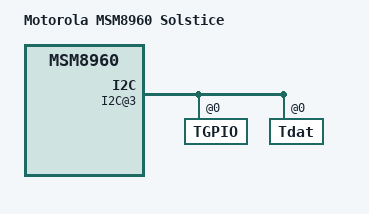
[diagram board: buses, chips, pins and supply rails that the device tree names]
/* Copyright (c) 2013 Motorola Mobility LLC. All rights reserved.
 *
 * This program is free software; you can redistribute it and/or modify
 * it under the terms of the GNU General Public License version 2 and
 * only version 2 as published by the Free Software Foundation.
 *
 * This program is distributed in the hope that it will be useful,
 * but WITHOUT ANY WARRANTY; without even the implied warranty of
 * MERCHANTABILITY or FITNESS FOR A PARTICULAR PURPOSE.  See the
 * GNU General Public License for more details.
 */

/dts-v1/;

/include/ "skeleton.dtsi"

/include/ "msm8960.dtsi"

/include/ "msm8960-motref.dtsi"

/include/ "msm8960-motref-pinmux.dtsi"

/ {
	model = "Motorola MSM8960 Solstice";
	compatible = "mmi,msm8960-old";

	mmi,product = "mmi,msm8960-solstice";

	mmi,dt_revision = <2>;

	Aliases@0 {
	};

	Machine@0 {
	};

};

/ {

	Aliases@0 {
	};

	Chosen@0 {
		batt_eprom_gpio = <0x5d>;
		emu_id_activehigh = <0x01>;
		emu_id_flt_activehigh = <0x01>;
		emu_id_flt_gpio = <0xaa>;
		emu_id_mpp_gpio = <0xcd>;
		formfactor = <0x00000003>;
		factory_kill_disable = <0x00>;
		factory_kill_gpio = <0x0000004b>;
		headset_bias = <0x00000a8c>;
		last_compat_version = <0x01330684>;
		panel_name = [6d6970695f6d6f745f636d645f736d645f7168645f34323900];
		product = <0x000022ff>;
		setup_gsbi12_clock = <0x00>;
		version = <0x0133068b>;
	};

	Machine@0 {
	};

	System@0 {

		ClockTree@0 {
			class = [436c6f636b5472656500];
			type = <0x001e0014>;

			Clock@0 { /* gsbi5_uart_clk */
				class = [5175616c636f6d6d436c6f636b54726565436c6f636b00];
				clock = <0x000c>;
				clockname = [636f72655f636c6b00];
				deviceid = [6d736d5f73657269616c5f68736c2e3500];
				type = <0x001e0015>;
			};

			Clock@1 { /* gsbi5_p_clk */
				class = [5175616c636f6d6d436c6f636b54726565436c6f636b00];
				clock = <0x000e>;
				clockname = [69666163655f636c6b00];
				deviceid = [6d736d5f73657269616c5f68736c2e3500];
				type = <0x001e0015>;
			};

			Clock@2 { /* cam0_clk */
				class = [5175616c636f6d6d436c6f636b54726565436c6f636b00];
				clock = <0x0025>;
				clockname = [63616d5f636c6b00];
				deviceid = [342d3030333600]; /* 4-0036 */
				type = <0x001e0015>;
			};

			Clock@3 { /* cam1_clk */
				class = [5175616c636f6d6d436c6f636b54726565436c6f636b00];
				clock = <0x0024>;
				clockname = [63616d5f636c6b00];
				deviceid = [342d3030336300]; /* 4-003c */
				type = <0x001e0015>;
			};

			Clock@4 {
				/* gsbi4_uart_clk, msm_serial_hs.1 */
				class = [5175616c636f6d6d436c6f636b54726565436c6f636b00];
				clock = <0x0009>;
				clockname = [636f72655f636c6b00];
				deviceid = [6d736d5f73657269616c5f68732e3100];
				type = <0x001e0015>;
			};

			Clock@5 {
				/* gsbi4_p_clk, msm_serial_hs.1 */
				class = [5175616c636f6d6d436c6f636b54726565436c6f636b00];
				clock = <0x000b>;
				clockname = [69666163655f636c6b00];
				deviceid = [6d736d5f73657269616c5f68732e3100];
				type = <0x001e0015>;
			};

			Clock@6 {
				/* gsbi4_p_clk, iface_clk, qup_i2c.4 */
				class = [5175616c636f6d6d436c6f636b54726565436c6f636b00];
				clock = <0x000b>;
				clockname = [69666163655f636c6b00];
				deviceid = [7175705f6932632e3400];
				type = <0x001e0015>;
			};
		};

		Display@0 { /* mipi_mot_cmd_smd_qhd_429 */
			class = [446973706c617900];
			disp_intf = <0x04>;
			num_disp_reg = <0x03>;
			panel_name = [6d6970695f6d6f745f636d645f736d645f7168645f34323900];
			reg_gpio_en_1 = <0x0c>;
			reg_gpio_en_3 = <0x0d>;
			reg_gpio_en_init_state_1 = <0x01>;
			reg_gpio_en_init_state_3 = <0x01>;
			reg_gpio_en_state_1 = <0x01>;
			reg_gpio_en_state_3 = <0x01>;
			reg_gpio_en_type_1 = <0x00>;
			reg_gpio_en_type_3 = <0x00>;
			reg_gpio_name_1 = [444953505f56325f454e00];
			reg_gpio_name_3 = [444953505f56315f454e00];
			reg_id_1 = [6473695f733400];
			reg_id_2 = [646973705f76636900];
			reg_id_3 = <0x00>;
			reg_max_mv_1 = <0x001b7740>;
			reg_max_mv_2 = <0x002f4d60>;
			reg_min_mv_1 = <0x001b7740>;
			reg_min_mv_2 = <0x002f4d60>;
			reg_name_1 = [444953505f564444494f00];
			reg_name_2 = [444953505f56434900];
			reg_name_3 = [565f335038305f4449535000];
			rst_dis_post_delay_1 = <0x000a>;
			rst_en_post_delay_1 = <0x0014>;
			rst_en_pre_delay_1 = <0x0019>;
			rst_en_state_1 = <0x01>;
			rst_gpio_1 = <0x25>;
			rst_gpio_type_1 = <0x01>;
			rst_init_state_1 = <0x01>;
			type = <0x001e001b>;
		};

		EMUDetection@0 {
			accy-support = <0x00>;
			class = [5175616c636f6d6d5f454d555f446574656374696f6e00];
			ic-type = <0x01>;
			type = <0x0000001d>;
			uart-gsbi = <0x04>;
			usb-otg-vreg = [383932315f7573625f6f746700];
			vdd-vreg = [454d555f504f57455200];
			vdd-vreg-mv = <0x002b7cd0>;

			Gpio-alt-mode@0 {
				class = [4750494f00];
				gpio-info = <0x0223>;
				pin-name = [53454d555f414c545f4d4f44455f454e5f4750494f00];
				pmic-gpio-cfg = [010000050603000001];
				pmic-gpio-cfg-alt = [010001050601000000];
				type = <0x001e0010>;
			};

			Gpio-dmb-ppd@0 {
				class = [4750494f00];
				gpio-info = <0x0309>;
				pin-name = [444d425f5050445f4445545f4750494f00];
				pmic-mpp-cfg = [000400];
				type = <0x001e0010>;
			};

			Gpio-dminus@0 {
				class = [4750494f00];
				gpio-info = <0x0215>;
				pin-name = [444d494e55535f4750494f00];
				pmic-gpio-cfg = [010000010602010000];
				pmic-gpio-cfg-alt = [020000050603000000];
				type = <0x001e0010>;
			};

			Gpio-dplus@0 {
				class = [4750494f00];
				gpio-info = <0x0229>;
				pin-name = [44504c55535f4750494f00];
				pmic-gpio-cfg = [020000010602010000];
				pmic-gpio-cfg-alt = [020000000603000000];
				type = <0x001e0010>;
			};

			Gpio-mux-ctrl0@0 {
				class = [4750494f00];
				gpio-info = <0x016b>;
				msm-gpio-cfg = <0x00030300>;
				pin-name = [454d555f4d55585f4354524c305f4750494f00];
				type = <0x001e0010>;
			};

			Gpio-mux-ctrl1@0 {
				class = [4750494f00];
				gpio-info = <0x0160>;
				msm-gpio-cfg = <0x00030100>;
				pin-name = [454d555f4d55585f4354524c315f4750494f00];
				type = <0x001e0010>;
			};

			Gpio-ppd-det@0 {
				class = [4750494f00];
				gpio-info = <0x0217>;
				pin-name = [53454d555f5050445f4445545f4750494f00];
				pmic-gpio-cfg = [020000050603000000];
				type = <0x001e0010>;
			};

			Gpio-sci-out@0 {
				class = [4750494f00];
				gpio-info = <0x030a>;
				pin-name = [454d555f5343495f4f55545f4750494f00];
				pmic-mpp-cfg = [000400];
				type = <0x001e0010>;
			};

			Gpio-uart-rx-pair@0 {
				class = [4750494f00];
				gpio-info = <0x022a>;
				pin-name = [52585f504149525f4750494f00];
				pmic-gpio-cfg = [010000010202010000];
				pmic-gpio-cfg-alt = [020000050202000001];
				type = <0x001e0010>;
			};

			Gpio-uart-tx-pair@0 {
				class = [4750494f00];
				gpio-info = <0x0216>;
				pin-name = [54585f504149525f4750494f00];
				pmic-gpio-cfg = [020000010202010000];
				pmic-gpio-cfg-alt = [020000050202000001];
				type = <0x001e0010>;
			};

			Gpio-whisper-rx@0 {
				class = [4750494f00];
				gpio-info = <0x0113>;
				msm-gpio-cfg = <0x01030000>;
				msm-gpio-cfg-alt = <0x00030000>;
				pin-name = [574849535045525f554152545f52585f4750494f00];
				type = <0x001e0010>;
			};

			Gpio-whisper-tx@0 {
				class = [4750494f00];
				gpio-info = <0x0112>;
				msm-gpio-cfg = <0x01030000>;
				msm-gpio-cfg-alt = <0x00030002>;
				pin-name = [574849535045525f554152545f54585f4750494f00];
				type = <0x001e0010>;
			};
		};

		Feature@0 {
			class = [4665617475726500];
			feature_hdmi = <0x00>;
			feature_mipi_cam = <0x00>;
			type = <0x0000000f>;
		};

		GSBISetup@0 {
			class = [47534249536574757000];
			type = <0x001e0012>;

			GSBI@1 { /* Qualcomm,GSBI,Port,SPI */
				class = [5175616c636f6d6d47534249504f525400];
				gsbi_type = <0x03>;
				max_clock_speed = <0x00e5cc20>;
				type = <0x001e0013>;
			};

			GSBI@10 { /* Qualcomm,GSBI,Port,I2CSIM */
				class = [5175616c636f6d6d47534249504f525400];
				clk_freq = <0x00061a80>;
				gsbi_type = <0x01>;
				src_clk_rate = <0x016e3600>;
				type = <0x001e0013>;
			};

			GSBI@3 { /* Qualcomm,GSBI,Port,I2C */
				class = [5175616c636f6d6d47534249504f525400];
				clk_freq = <0x00061a80>;
				gsbi_type = <0x02>;
				src_clk_rate = <0x016e3600>;
				type = <0x001e0013>;
			};

			GSBI@4 { /* Qualcomm,GSBI,Port,I2CUART */
				class = [5175616c636f6d6d47534249504f525400];
				clk_freq = <0x00061a80>;
				gsbi_type = <0x06>;
				shared_mode = <0x01>;
				src_clk_rate = <0x016e3600>;
				type = <0x001e0013>;
			};

			GSBI@5 { /* Qualcomm,GSBI,Port,I2CUART */
				class = [5175616c636f6d6d47534249504f525400];
				gsbi_type = <0x06>;
				shared_mode = <0x00>;
				type = <0x001e0013>;
				uart_line = <0x00>;
			};
		};

		I2C@10 {
			class = <0x49324300>;
			type = <0x001e0003>;

			I2C,Board@0 { /* TAOS,CT406 */
				class = [435434303600];
				ct406_prox_covered_offset = <0x0082>;
				ct406_prox_pulse_count = <0x05>;
				ct406_prox_uncovered_offset = <0x005a>;
				i2c,address = <0x00000039>;
				i2c,type = [637434303600];
				irq,gpio = <0x31>;
				type = <0x00250001>;
			};

			I2C,Board@4 { /* NXP,PN544 */
				class = [504e35343400];
				i2c,address = <0x00000028>;
				i2c,type = [706e35343400];
				irq,gpio = <0x6a>;
				platform_data = [0000006a000000440000003300000000];
				type = <0x00190001>;
			};

			I2C,Board@5 { /* TMP105 */
				class = [544d5031303500];
				i2c,address = <0x00000048>;
				i2c,type = [746d7031303500];
				irq,gpio = <0x43>;
				type = <0x00030014>;
			};
		};

		I2C@3 {
			class = <0x49324300>;
			type = <0x001e0003>;

			I2C,Board@3 { /* Atmel,mXT */
				class = <0x4d585400>;
				i2c,address = <0x0000004a>;
				i2c,type = [61746d78742d69326300];
				irq,gpio = <0x2e>;
				type = <0x00260001>;

				TGPIO@0 {
					class = [544750494f00];
					en_gpio = <0x34>;
					irq_gpio = <0x2e>;
					rst_gpio = <0x32>;
					type = <0x0000001f>;
				};

				Tdat@0 {
					class = [5464617400];
					tdat_filename = [61746d78742d72322e7464617400];
					type = <0x0000001e>;
				};
			};
		};

		I2C@4 {
			class = <0x49324300>;
			type = <0x001e0003>;

			I2C,Board@0 { /* Omnivision,OV8820 */
				1p8_via_gpio = <0x01>;
				class = [4f563838323000];
				drv_strength = <0x02>;
				gpio_avdd_en = <0x00000036>;
				gpio_dig_en = <0x0000003a>;
				gpio_pwd = <0x0000005f>;
				gpio_reset = <0x00000061>;
				i2c,address = <0x00000036>;
				i2c,type = [6f763838323000];
				type = <0x00290000>;
			};

			I2C,Board@2 { /* National,LM3556 */
				class = [4c4d3335353600];
				current_cntrl_reg_val = <0x1a>;
				enable_gpio = <0x00000002>;
				i2c,address = <0x00000063>;
				i2c,type = [6c6d333535365f6c656400];
				type = <0x000b0006>;
			};

			I2C,Board@3 { /* Omnivision,OV7736 */
				class = [4f563737333600];
				drv_strength = <0x02>;
				i2c,address = <0x0000003c>;
				i2c,type = [6f763737333600];
				type = <0x00290001>;
				gpio_avdd_en = <0x00000052>;
				gpio_pwd = <0x00000059>;
				gpio_reset = <0x0000004c>;
			};
		};

		IOMUX@0 {
			class = [494f4d555800];
			/*
			{GPIO000,ACTIVE,MODE1,PULL_DOWN,2MA,GPIOMUX_IN},
			{GPIO000,SUSPENDED,MODE0,PULL_DOWN,2MA,GPIOMUX_IN},
		        {GPIO001,SUSPENDED,MODE0,PULL_DOWN,2MA,GPIOMUX_IN},
			{GPIO002,ACTIVE,MODE0,PULL_DISABLE,2MA,GPIOMUX_IN},
			{GPIO002,SUSPENDED,MODE0,PULL_DOWN,2MA,GPIOMUX_IN},
			{GPIO003,ACTIVE,MODE1,PULL_DISABLE,2MA,GPIOMUX_IN},
			{GPIO003,SUSPENDED,MODE0,PULL_DOWN,2MA,GPIOMUX_IN},
			{GPIO004,ACTIVE,MODE2,PULL_DISABLE,6MA,GPIOMUX_IN},
			{GPIO004,SUSPENDED,MODE2,PULL_DISABLE,2MA,GPIOMUX_IN},
			{GPIO005,ACTIVE,MODE1,PULL_UP,8MA,GPIOMUX_IN},
			{GPIO005,SUSPENDED,MODE1,PULL_DOWN,8MA,GPIOMUX_IN},
		        {GPIO007,SUSPENDED,MODE0,PULL_DOWN,2MA,GPIOMUX_IN},
		        {GPIO011,SUSPENDED,MODE0,PULL_DOWN,2MA,GPIOMUX_IN},
			{GPIO015,ACTIVE,MODE0,PULL_UP,2MA,GPIOMUX_IN},
			{GPIO015,SUSPENDED,MODE0,PULL_DOWN,2MA,GPIOMUX_IN},
			{GPIO018,ACTIVE,MODE1,PULL_DISABLE,6MA,GPIOMUX_IN},
			{GPIO018,SUSPENDED,MODE0,KEEPER,2MA,GPIOMUX_IN},
			{GPIO019,ACTIVE,MODE1,PULL_DISABLE,6MA,GPIOMUX_IN},
			{GPIO019,SUSPENDED,MODE0,KEEPER,2MA,GPIOMUX_IN},
			{GPIO020,ACTIVE,MODE1,PULL_DISABLE,8MA,GPIOMUX_IN},
			{GPIO020,SUSPENDED,MODE0,PULL_DISABLE,2MA,GPIOMUX_IN},
			{GPIO021,ACTIVE,MODE1,PULL_DISABLE,8MA,GPIOMUX_IN},
			{GPIO021,SUSPENDED,MODE0,PULL_DISABLE,2MA,GPIOMUX_IN},
		        {GPIO026,SUSPENDED,MODE0,PULL_DOWN,2MA,GPIOMUX_IN},
		        {GPIO027,SUSPENDED,MODE0,PULL_DOWN,2MA,GPIOMUX_IN},
		        {GPIO032,SUSPENDED,MODE0,PULL_DOWN,2MA,GPIOMUX_IN},
		        {GPIO033,SUSPENDED,MODE0,PULL_DOWN,2MA,GPIOMUX_IN},
		        {GPIO034,SUSPENDED,MODE0,PULL_DOWN,2MA,GPIOMUX_IN},
		        {GPIO035,SUSPENDED,MODE0,PULL_DOWN,2MA,GPIOMUX_IN},
		        {GPIO036,SUSPENDED,MODE0,PULL_DOWN,2MA,GPIOMUX_IN},
		        {GPIO037,SUSPENDED,MODE0,PULL_DOWN,2MA,GPIOMUX_IN},
		        {GPIO038,SUSPENDED,MODE0,PULL_DOWN,2MA,GPIOMUX_IN},
		        {GPIO039,SUSPENDED,MODE0,PULL_DOWN,2MA,GPIOMUX_IN},
		        {GPIO040,SUSPENDED,MODE0,PULL_DOWN,2MA,GPIOMUX_IN},
		        {GPIO041,SUSPENDED,MODE0,PULL_DOWN,2MA,GPIOMUX_IN},
		        {GPIO042,SUSPENDED,MODE0,PULL_DOWN,2MA,GPIOMUX_IN},
			{GPIO043,ACTIVE,MODE0,PULL_DOWN,2MA,GPIOMUX_IN},
			{GPIO043,SUSPENDED,MODE0,PULL_DOWN,2MA,GPIOMUX_IN},
			{GPIO044,ACTIVE,MODE1,PULL_DISABLE,8MA,GPIOMUX_IN},
			{GPIO044,SUSPENDED,MODE0,PULL_DISABLE,2MA,GPIOMUX_IN},
			{GPIO045,ACTIVE,MODE1,PULL_DISABLE,8MA,GPIOMUX_IN},
			{GPIO045,SUSPENDED,MODE0,PULL_DISABLE,2MA,GPIOMUX_IN},
			{GPIO047,ACTIVE,MODE0,PULL_DISABLE,2MA,GPIOMUX_IN},
			{GPIO047,SUSPENDED,MODE0,PULL_DOWN,2MA,GPIOMUX_IN},
		        {GPIO048,SUSPENDED,MODE0,PULL_DOWN,2MA,GPIOMUX_IN},
			{GPIO051,ACTIVE,MODE0,PULL_DISABLE,2MA,GPIOMUX_IN},
			{GPIO051,SUSPENDED,MODE0,PULL_DISABLE,2MA,GPIOMUX_IN},
		        {GPIO052,SUSPENDED,MODE0,PULL_DOWN,2MA,GPIOMUX_IN},
		        {GPIO053,SUSPENDED,MODE0,PULL_DOWN,2MA,GPIOMUX_IN},
		        {GPIO055,SUSPENDED,MODE0,PULL_DOWN,2MA,GPIOMUX_IN},
		        {GPIO063,SUSPENDED,MODE0,PULL_DOWN,2MA,GPIOMUX_IN},
		        {GPIO064,SUSPENDED,MODE0,PULL_DOWN,2MA,GPIOMUX_IN},
		        {GPIO065,SUSPENDED,MODE0,PULL_DOWN,2MA,GPIOMUX_IN},
		        {GPIO066,SUSPENDED,MODE0,PULL_DOWN,2MA,GPIOMUX_IN},
			{GPIO068,ACTIVE,MODE0,PULL_DISABLE,2MA,GPIOMUX_IN},
			{GPIO068,SUSPENDED,MODE0,PULL_DISABLE,2MA,GPIOMUX_IN},
		        {GPIO069,SUSPENDED,MODE0,PULL_DOWN,2MA,GPIOMUX_IN},
		        {GPIO070,SUSPENDED,MODE0,PULL_DOWN,2MA,GPIOMUX_IN},
		        {GPIO071,SUSPENDED,MODE0,PULL_DOWN,2MA,GPIOMUX_IN},
		        {GPIO072,SUSPENDED,MODE0,PULL_DOWN,2MA,GPIOMUX_IN},
			{GPIO076,ACTIVE,MODE0,PULL_DISABLE,2MA,GPIOMUX_IN},
			{GPIO076,SUSPENDED,MODE0,PULL_DOWN,2MA,GPIOMUX_IN},
		        {GPIO077,SUSPENDED,MODE0,PULL_DOWN,2MA,GPIOMUX_IN},
			{GPIO079,ACTIVE,MODE0,PULL_DISABLE,2MA,GPIOMUX_IN},
			{GPIO079,SUSPENDED,MODE0,PULL_DOWN,2MA,GPIOMUX_IN},
		        {GPIO090,SUSPENDED,MODE0,PULL_DOWN,2MA,GPIOMUX_IN},
			{GPIO093,ACTIVE,MODE0,PULL_DISABLE,2MA,GPIOMUX_IN},
			{GPIO093,SUSPENDED,MODE0,PULL_DISABLE,2MA,GPIOMUX_IN},
		        {GPIO094,SUSPENDED,MODE0,PULL_DOWN,2MA,GPIOMUX_IN},
		        {GPIO098,SUSPENDED,MODE0,PULL_DOWN,2MA,GPIOMUX_IN},
		        {GPIO099,SUSPENDED,MODE0,PULL_DOWN,2MA,GPIOMUX_IN},
		        {GPIO100,SUSPENDED,MODE0,PULL_DOWN,2MA,GPIOMUX_IN},
		        {GPIO101,SUSPENDED,MODE0,PULL_DOWN,2MA,GPIOMUX_IN},
		        {GPIO102,SUSPENDED,MODE0,PULL_DOWN,2MA,GPIOMUX_IN},
			{GPIO106,ACTIVE,MODE0,PULL_DISABLE,2MA,GPIOMUX_IN},
			{GPIO106,SUSPENDED,MODE0,PULL_DISABLE,2MA,GPIOMUX_IN},
			{GPIO107,ACTIVE,MODE0,PULL_DISABLE,2MA,GPIOMUX_IN},
			{GPIO107,SUSPENDED,MODE0,PULL_DOWN,2MA,GPIOMUX_IN},
		        {GPIO116,SUSPENDED,MODE0,PULL_DOWN,2MA,GPIOMUX_IN},
		        {GPIO134,SUSPENDED,MODE0,PULL_DOWN,2MA,GPIOMUX_IN},
		        {GPIO136,SUSPENDED,MODE0,PULL_DOWN,2MA,GPIOMUX_IN},
		        {GPIO138,SUSPENDED,MODE0,PULL_DOWN,2MA,GPIOMUX_IN},
		        {GPIO144,SUSPENDED,MODE0,PULL_DOWN,2MA,GPIOMUX_IN},
		        {GPIO145,SUSPENDED,MODE0,PULL_DOWN,2MA,GPIOMUX_IN},
		        {GPIO146,SUSPENDED,MODE0,PULL_DOWN,2MA,GPIOMUX_IN},
		        {GPIO147,SUSPENDED,MODE0,PULL_DOWN,2MA,GPIOMUX_IN},
		        {GPIO148,SUSPENDED,MODE0,PULL_DOWN,2MA,GPIOMUX_IN},
		        {GPIO149,SUSPENDED,MODE0,PULL_DOWN,2MA,GPIOMUX_IN},
		        {GPIO150,SUSPENDED,MODE0,PULL_DOWN,2MA,GPIOMUX_IN},
		        {GPIO151,SUSPENDED,MODE0,PULL_DOWN,2MA,GPIOMUX_IN}
			*/
			settings = [000000010100000000010001000000010100010000000200000000000002010001000000030001000000000301000100000004000200020000040102000000000500010303000005010101030000070100010000000b0100010000000f0000030000000f01000100000012000100020000120100020000001300010002000013010002000000140001000300001401000000000015000100030000150100000000001a0100010000001b010001000000200100010000002101000100000022010001000000230100010000002401000100000025010001000000260100010000002701000100000028010001000000290100010000002a0100010000002b0000010000002b0100010000002c0001000300002c0100000000002d0001000300002d0100000000002f0000000000002f0100010000003001000100000033000000000000330100000000003401000100000035010001000000370100010000003f0100010000004001000100000041010001000000420100010000004400000000000044010000000000450100010000004601000100000047010001000000480100010000004c0000000000004c0100010000004d0100010000004f0000000000004f0100010000005a0100010000005d0000000000005d0100000000005e01000100000062010001000000630100010000006401000100000065010001000000660100010000006a0000000000006a0100000000006b0000000000006b0100010000007401000100000086010001000000880100010000008a01000100000090010001000000910100010000009201000100000093010001000000940100010000009501000100000096010001000000970100010000];
			type = <0x001e000f>;
		};

		PowerIC@0 {
			chg-hot-temp = <0x38>;
			chg-hot-temp-offset = <0x04>;
			class = [506f776572494300];
			type = <0x001e0004>;

			GPIO@10 {
				class = [5175616c636f6d6d504d383932314750494f00];
				gpio = <0x000a>;
				type = <0x001e0006>;
			};

			GPIO@11 {
				class = [5175616c636f6d6d504d383932314750494f00];
				gpio = <0x000b>;
				type = <0x001e0006>;
			};

			GPIO@12 {
				class = [5175616c636f6d6d504d383932314750494f00];
				gpio = <0x000c>;
				type = <0x001e0006>;
			};

			GPIO@13 {
				class = [5175616c636f6d6d504d383932314750494f00];
				gpio = <0x000d>;
				type = <0x001e0006>;
			};

			GPIO@14 {
				class = [5175616c636f6d6d504d383932314750494f00];
				gpio = <0x000e>;
				type = <0x001e0006>;
			};

			GPIO@15 {
				class = [5175616c636f6d6d504d383932314750494f00];
				gpio = <0x000f>;
				type = <0x001e0006>;
			};

			GPIO@16 {
				class = [5175616c636f6d6d504d383932314750494f00];
				gpio = <0x0010>;
				type = <0x001e0006>;
			};

			GPIO@17 {
				class = [5175616c636f6d6d504d383932314750494f00];
				gpio = <0x0011>;
				type = <0x001e0006>;
			};

			GPIO@19 {
				class = [5175616c636f6d6d504d383932314750494f00];
				gpio = <0x0013>;
				type = <0x001e0006>;
			};

			GPIO@20 {
				class = [5175616c636f6d6d504d383932314750494f00];
				gpio = <0x0014>;
				pull = <0x00>;
				type = <0x001e0008>;
			};

			GPIO@21 {
				class = [5175616c636f6d6d504d383932314750494f00];
				gpio = <0x0015>;
				type = <0x001e000c>;
				vin = <0x06>;
			};

			GPIO@22 {
				class = [5175616c636f6d6d504d383932314750494f00];
				gpio = <0x0016>;
				type = <0x001e000b>;
				vin = <0x02>;
			};

			GPIO@23 {
				class = [5175616c636f6d6d504d383932314750494f00];
				gpio = <0x0017>;
				type = <0x001e000b>;
				vin = <0x06>;
			};

			GPIO@24 {
				class = [5175616c636f6d6d504d383932314750494f00];
				func = <0x03>;
				gpio = <0x0018>;
				type = <0x001e0009>;
				value = <0x0000>;
			};

			GPIO@25 {
				class = [5175616c636f6d6d504d383932314750494f00];
				func = <0x03>;
				gpio = <0x0019>;
				type = <0x001e0009>;
				value = <0x0000>;
			};

			GPIO@26 {
				class = [5175616c636f6d6d504d383932314750494f00];
				func = <0x03>;
				gpio = <0x001a>;
				type = <0x001e0009>;
				value = <0x0000>;
			};

			GPIO@33 {
				class = [5175616c636f6d6d504d383932314750494f00];
				gpio = <0x0021>;
				type = <0x001e0006>;
			};

			GPIO@37 {
				class = [5175616c636f6d6d504d383932314750494f00];
				gpio = <0x0025>;
				type = <0x001e0007>;
				value = <0x0001>;
			};

			GPIO@40 {
				class = [5175616c636f6d6d504d383932314750494f00];
				gpio = <0x0028>;
				type = <0x001e0007>;
				value = <0x0000>;
			};

			GPIO@41 {
				class = [5175616c636f6d6d504d383932314750494f00];
				gpio = <0x0029>;
				type = <0x001e000b>;
				vin = <0x06>;
			};

			GPIO@42 {
				class = [5175616c636f6d6d504d383932314750494f00];
				gpio = <0x002a>;
				type = <0x001e000c>;
				vin = <0x02>;
			};

			GPIO@43 {
				class = [5175616c636f6d6d504d383932314750494f00];
				gpio = <0x002b>;
				type = <0x001e0006>;
			};

			GPIO@44 {
				class = [5175616c636f6d6d504d383932314750494f00];
				gpio = <0x002c>;
				type = <0x001e0006>;
			};

			GPIO@6 {
				class = [5175616c636f6d6d504d383932314750494f00];
				gpio = <0x0006>;
				type = <0x001e0006>;
			};

			GPIO@7 {
				class = [5175616c636f6d6d504d383932314750494f00];
				gpio = <0x0007>;
				type = <0x001e0006>;
			};

			GPIO@8 {
				class = [5175616c636f6d6d504d383932314750494f00];
				gpio = <0x0008>;
				type = <0x001e0006>;
			};

			GPIO@9 {
				class = [5175616c636f6d6d504d383932314750494f00];
				gpio = <0x0009>;
				type = <0x001e0006>;
			};
		};

		Vibrator@0 { /* RotaryVibrator */
			class = [5669627261746f7200];
			max = <0x01c9c380>;
			min = <0x00003a98>;
			pwm = [00004e1f000000010000000100000001000061a7000080e8000080e800004e20000080e700009c4000009c40000061a800009c3f0000cb200000cb20000080e80000ea600000ea600000ea6000009c4001ba814100009c4000009a4c00009c4001ba852900002710000027100000138801c9c38000009c4000009a4c00000000];
			regulator = [383932315f6c313600];
			type = <0x00000017>;
			vib_dir = [0000001f00000001ffffffff0000004f];
			vib_en = [0000001f00000001ffffffff0000002f];
			voltage = [0000ea60002ab980002ab98001ba8141002625a0002625a0];
		};
	};
};

/ {

	mmi,revision = "p3";

};
